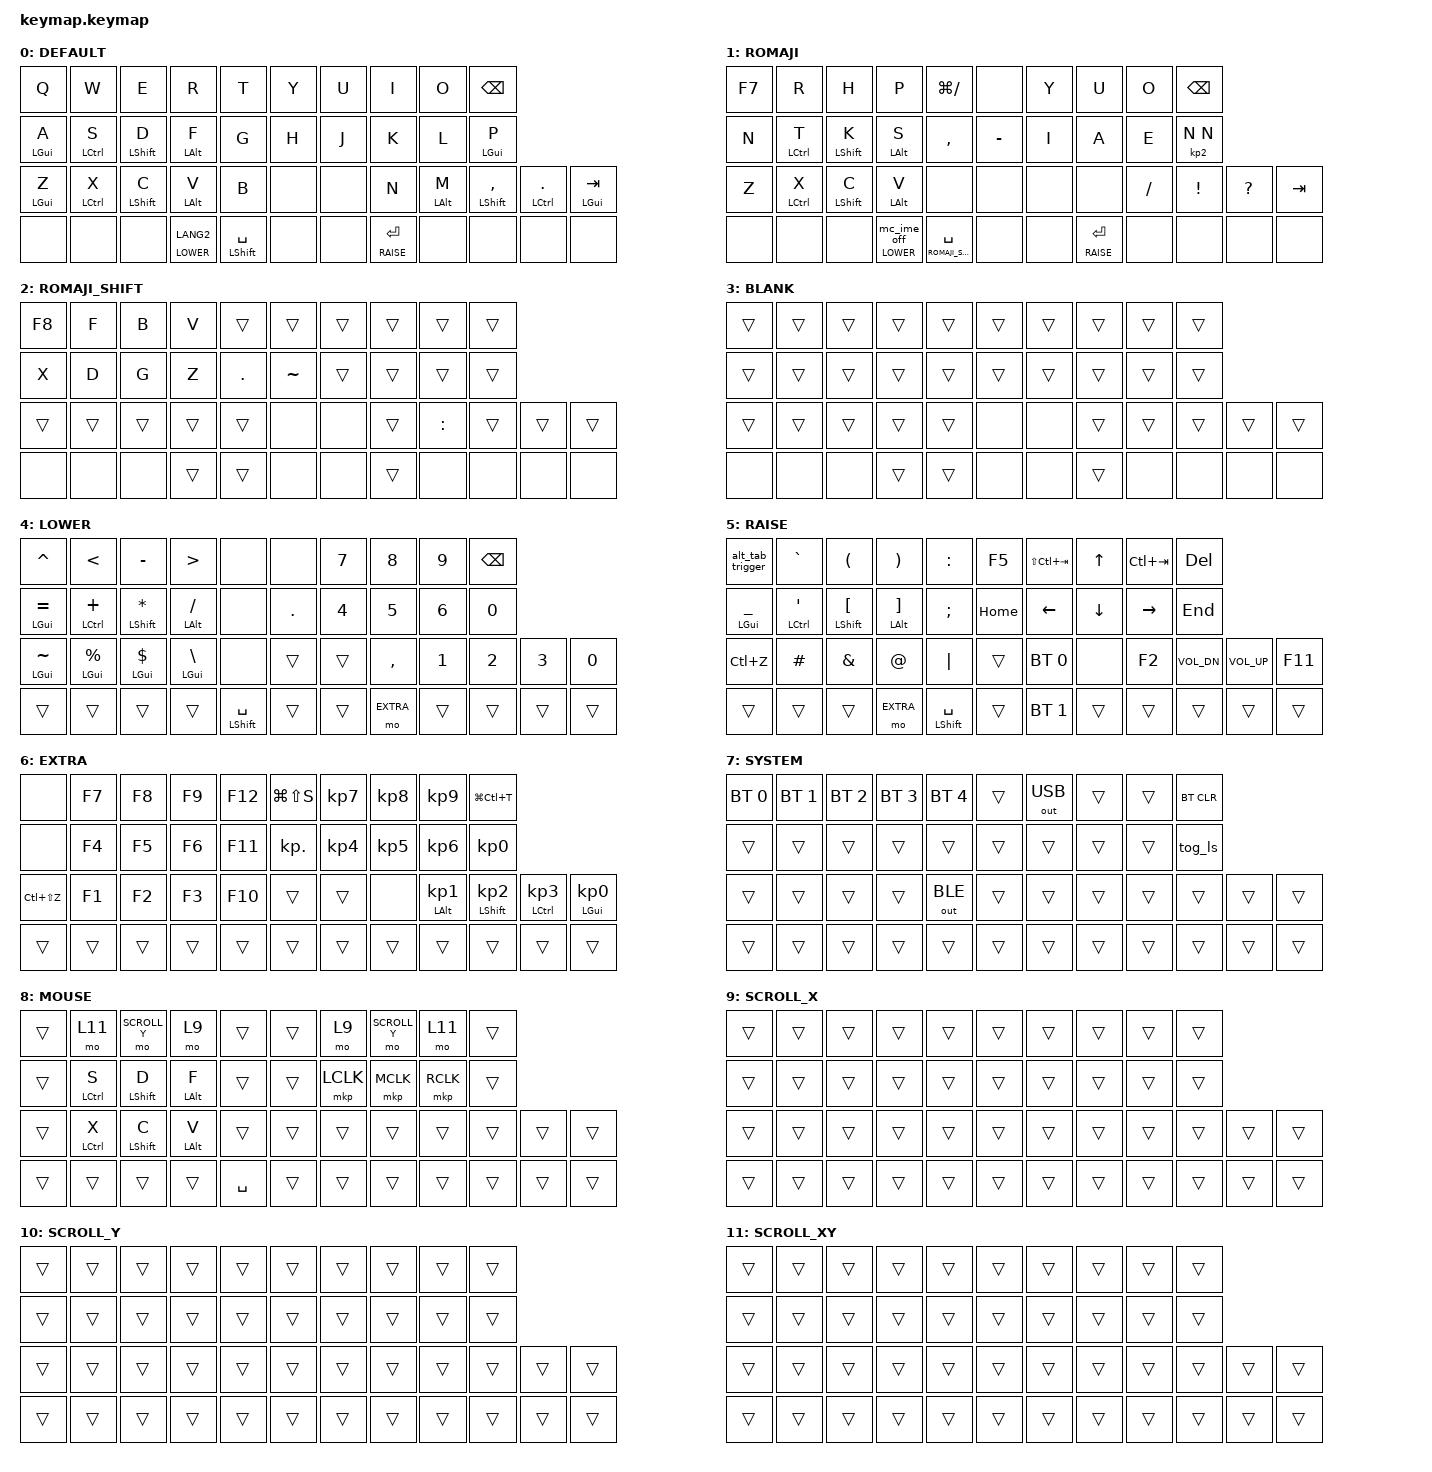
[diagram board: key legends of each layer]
#include <dt-bindings/zmk/modifiers.h>
#include <layout_shift.dtsi>
#include <input/processors.dtsi>
#include <behaviors.dtsi>
#include <dt-bindings/zmk/bt.h>
#include <dt-bindings/zmk/keys.h>
#include <dt-bindings/zmk/outputs.h>
#include <dt-bindings/zmk/pointing.h>

#define DEFAULT 0
#define ROMAJI 1
#define ROMAJI_SHIFT 2
#define BLANK 3
#define LOWER 4
#define RAISE 5
#define EXTRA 6
#define SYSTEM 7
#define MOUSE 8
#define SCROLL_X 9
#define SCROLL_Y 10
#define SCROLL_XY 11
#define KEYS_L 0 1 2 3 4 10 11 12 13 14 20 21 22 23 24 25 32 33 34
#define KEYS_R 5 6 7 8 9 15 16 17 18 19 26 27 28 29 30 31 41 42 43
#define THUMBS 31 35 36 37 38 39 40

// マウス機能の設定

&zip_temp_layer {
    require-prior-idle-ms = <200>; // キー入力から指定の時間(ms)、AMLを有効にしない(誤爆防止)
    excluded-positions = <
  /* ここで指定しないキー(非マウスキー)を押したとき、AMLを解除 */
        2 // E(SCROLL)
        7 // I(SCROLL)

        10 // A(GUI)
        11 // S(Ctrl)
        12 // D(Shift)
        13 // F(Alt)

        16 // J(LMB)
        17 // K(MMB)
        18 // L(RMB)

        36 // SandS
    >;
};

&trackball_listener {
    compatible = "zmk,input-listener";
    input-processors = <
        /* カーソル方向の反転 */
        &zip_xy_transform (INPUT_TRANSFORM_X_INVERT | INPUT_TRANSFORM_Y_INVERT)

        /* カーソル速度の変更 */
        &zip_x_scaler 1 1 /* X軸方向の速度を a/b倍 に調整 */
        &zip_y_scaler 1 1 /* Y軸方向の速度を a/b倍 に調整 */
        &zip_temp_layer MOUSE 10000 /* (AMLを適用するレイヤー, レイヤーが解除されるまでの時間(ms)) */
    >;

    precision_mode {
        layers = <LOWER>;
        input-processors = <
            &zip_xy_scaler 1 4 /* カーソル速度を a/b倍 に調整 */
            &zip_temp_layer MOUSE 10000
        >;

        process-next;
    };

    scroller_x {
        layers = <SCROLL_X>; /* このレイヤーにいるとき自動的にスクロールモードに変更 */
        input-processors = <
            &zip_y_scaler 0 1 /* Y軸の移動量を0倍にして遮断 */
            &zip_xy_to_scroll_mapper
            &zip_scroll_transform (INPUT_TRANSFORM_X_INVERT) /* X軸方向の動きを反転 */
            &zip_scroll_scaler 1 10 /* スクロールの速度を a/b倍 に調整 */
        >;

        process-next;
    };

    scroller_y {
        layers = <SCROLL_Y>; /* このレイヤーにいるとき自動的にスクロールモードに変更 */
        input-processors = <
            &zip_x_scaler 0 1 /* X軸の移動量を0倍にして遮断 */
            &zip_xy_to_scroll_mapper
            &zip_scroll_transform (INPUT_TRANSFORM_X_INVERT) /* X軸方向の動きを反転 */
            &zip_scroll_scaler 1 10 /* スクロールの速度を a/b倍 に調整 */
        >;

        process-next;
    };

    scroller_xy {
        layers = <SCROLL_XY>; /* このレイヤーにいるとき自動的にスクロールモードに変更 */
        input-processors = <
            &zip_xy_to_scroll_mapper
            &zip_scroll_transform (INPUT_TRANSFORM_X_INVERT) /* X軸方向の動きを反転 */
            &zip_scroll_scaler 1 10 /* スクロールの速度を a/b倍 に調整 */
        >;

        process-next;
    };
};

&mkp_input_listener {
    input-processors = <&zip_temp_layer MOUSE 10000>; // マウスボタンを押した後、指定の時間(ms)AMLを延長
};

// Mod-Tap

&mt {
    tapping-term-ms = <200>;
    quick-tap-ms = <250>;
    flavor = "balanced";
};

// Layer-Tap

&lt {
    tapping-term-ms = <200>;
    quick-tap-ms = <(-1)>;
    require-prior-idle-ms = <(-1)>;
    flavor = "hold-preferred";
    hold-while-undecided; // KeyPress後 すぐにHold-behaviorが開始
};

/ {
    combos {
        compatible = "zmk,combos";

        mkp_MB4 {
            bindings = <&mkp MB4>;
            key-positions = <15 16>;
        };

        mkp_MB5 {
            bindings = <&mkp MB5>;
            key-positions = <19 18>;
            layers = <0 8>;
        };

        kp_ESC {
            bindings = <&kp ESCAPE>;
            key-positions = <1 0>;
        };

        kp_CTRL_W {
            bindings = <&kp LC(W)>;
            key-positions = <15 19>;
        };

        kp_CTRL_SHIFT_T {
            bindings = <&kp LS(LC(T))>;
            key-positions = <5 9>;
        };

        kp_Win_1 {
            bindings = <&kp LG(N1)>;
            key-positions = <24 27>;
            layers = <0 8>;
        };

        kp_Win_2 {
            bindings = <&kp LG(N2)>;
            key-positions = <3 9>;
            layers = <0 8>;
        };

        kp_WIN {
            bindings = <&kp LGUI>;
            key-positions = <0 9>;
        };

        kp_CTRL_X {
            bindings = <&kp LC(X)>;
            key-positions = <20 21>;
        };

        kp_CTRL_C {
            bindings = <&kp LC(C)>;
            key-positions = <21 22>;
        };

        kp_CTRL_V {
            bindings = <&kp LC(V)>;
            key-positions = <21 23>;
        };

        kp_CTRL_SHIFT_V {
            bindings = <&kp LC(LS(V))>;
            key-positions = <21 22 23>;
        };

        kp_IME_on {
            bindings = <&mc_ime_on>;
            key-positions = <39 36>;
            timeout-ms = <50>;
        };

        sl_SYSTEM {
            bindings = <&sl SYSTEM>;
            key-positions = <31 27 24 20>;
            timeout-ms = <150>;
        };

        kp_IME_on_noLayer {
            bindings = <&kp LANG1>;
            key-positions = <9 8>;
        };

        kp_dh {
            bindings = <&kp2 D H>;
            key-positions = <11 2>;
            timeout-ms = <150>;
            layers = <2>;
        };

        kp_wh {
            bindings = <&kp2 W H>;
            key-positions = <1 2>;
            timeout-ms = <150>;
            layers = <2>;
        };

        kp_m {
            bindings = <&kp M>;
            key-positions = <12 11>;
            timeout-ms = <150>;
            layers = <1 2 3>;
        };

        kp_z {
            bindings = <&kp Z>;
            key-positions = <13 36>;
            timeout-ms = <50>;
            layers = <1 2 3>;
        };

        kp_d {
            bindings = <&kp D>;
            key-positions = <11 36>;
            timeout-ms = <50>;
            layers = <1 2 3>;
        };

        kp_g {
            bindings = <&kp G>;
            key-positions = <12 36>;
            timeout-ms = <50>;
            layers = <1 2 3>;
        };

        kp_b {
            bindings = <&kp B>;
            key-positions = <2 36>;
            timeout-ms = <50>;
            layers = <1 2 3>;
        };

        kp_v {
            bindings = <&kp V>;
            key-positions = <36 3>;
            timeout-ms = <50>;
            layers = <1 2 3>;
        };

        kp_x {
            bindings = <&kp X>;
            key-positions = <10 36>;
            timeout-ms = <50>;
            layers = <1 2 3>;
        };

        kp_f {
            bindings = <&kp F>;
            key-positions = <1 36>;
            timeout-ms = <150>;
            layers = <1 2 3>;
        };

        kp_w {
            bindings = <&kp W>;
            key-positions = <1 2>;
            timeout-ms = <150>;
            layers = <1 3>;
        };

        kp_rarrow {
            bindings = <&kp2 MINUS GT>;
            key-positions = <13 14>;
            timeout-ms = <150>;
            layers = <1 2>;
        };

        kp_larrow {
            bindings = <&kp2 LT MINUS>;
            key-positions = <10 11>;
            timeout-ms = <150>;
            layers = <2>;
        };
    };

    macros {
        // AMLを解除するマクロ

        /omit-if-no-ref/

        exit_AML: exit_AML {
            compatible = "zmk,behavior-macro";
            wait-ms = <0>;
            tap-ms = <0>;
            #binding-cells = <0>;
            bindings = <&tog_off MOUSE>;
        };

        // KeyPress後にAMLを解除するマクロ

        /omit-if-no-ref/

        kp_exit_AML: kp_exit_AML {
            compatible = "zmk,behavior-macro-one-param";
            wait-ms = <0>;
            tap-ms = <0>;
            #binding-cells = <1>;
            bindings = <&macro_param_1to1 &kp MACRO_PLACEHOLDER &exit_AML>;
        };

        // IME onと同時にローマ字レイヤーを有効にするマクロ

        /omit-if-no-ref/

        mc_ime_on: ime_on_romaji_layer {
            compatible = "zmk,behavior-macro";
            #binding-cells = <0>;
            bindings = <&macro_tap>, <&kp LANG1 &tog_on ROMAJI>;
        };

        // IME offと同時にデフォルトレイヤーに切り替えるマクロ

        /omit-if-no-ref/

        mc_ime_off: ime_off_default_layer {
            compatible = "zmk,behavior-macro";
            #binding-cells = <0>;
            bindings =
                <&macro_tap>,
                <&kp LANG2 &tog_off ROMAJI &tog_off ROMAJI_SHIFT>;
        };

        // 押している間レイヤーを切り替えながらIME offにするマクロ

        /omit-if-no-ref/

        mc_mo_ime_off: macro_mo_ime_off {
            compatible = "zmk,behavior-macro-one-param";
            #binding-cells = <1>;
            wait-ms = <0>;
            tap-ms = <0>;
            bindings =
                <&macro_press>,
                <&macro_param_1to1 &mo MACRO_PLACEHOLDER>,
                <&macro_tap>,
                <&kp LANG2>,
                <&macro_pause_for_release>,
                <&macro_release>,
                <&macro_param_1to1 &mo MACRO_PLACEHOLDER>,
                <&macro_tap>,
                <&kp LANG1>;
        };

        // Alt+Tab起動マクロ

        /omit-if-no-ref/

        alt_tab_trigger: alt_tab_trigger {
            compatible = "zmk,behavior-macro";
            #binding-cells = <0>;
            bindings =
                <&macro_press>,
                <&kp LALT>,
                <&macro_tap>,
                <&kp TAB>,
                <&macro_pause_for_release>,
                <&macro_release>,
                <&kp LALT>;
        };

        // 2つのキーコードを連続入力する汎用マクロ

        /omit-if-no-ref/

        kp2: kp_2chars {
            compatible = "zmk,behavior-macro-two-param";
            #binding-cells = <2>;
            bindings = <&macro_param_1to1 &kp MACRO_PLACEHOLDER &macro_param_2to1 &kp MACRO_PLACEHOLDER>; // 2つ目のキー
        };
    };

    behaviors {
        /omit-if-no-ref/

        // レイヤーを有効にするbehavior

        tog_on: toggle_layer_on {
            compatible = "zmk,behavior-toggle-layer";
            #binding-cells = <1>;
            toggle-mode = "on";
        };

        /omit-if-no-ref/

        // レイヤーを無効化するbehavior

        tog_off: toggle_layer_off {
            compatible = "zmk,behavior-toggle-layer";
            #binding-cells = <1>;
            toggle-mode = "off";
        };

        /omit-if-no-ref/

        // SandS用設定

        mt_SandS: mt_SandS {
            compatible = "zmk,behavior-hold-tap";
            label = "mt_SandS";
            #binding-cells = <2>;
            bindings = <&kp>, <&kp>;

            tapping-term-ms = <200>;
            quick-tap-ms = <(-1)>;
            require-prior-idle-ms = <(-1)>;
            flavor = "hold-preferred";
            hold-while-undecided;
        };

        /omit-if-no-ref/

        // Hold時にレイヤー切り替え、Tap時にIME off

        ht_ime_tap_hold_mo: ime_off_tap_mo_hold {
            compatible = "zmk,behavior-hold-tap";
            #binding-cells = <2>;
            bindings = <&mo &mc_ime_off>;
            tapping-term-ms = <200>;
            flavor = "hold-preferred";
            hold-while-undecided; // KeyPress後 すぐにHold-behaviorが開始    
        };

        /omit-if-no-ref/

        // Hold時にレイヤーを切り替えながらIME off、Tap時にキーコードを送信

        lt_ime_off: lt_ime_off {
            compatible = "zmk,behavior-hold-tap";
            #binding-cells = <2>;
            bindings = <&mc_mo_ime_off &kp>;
            tapping-term-ms = <200>;
            flavor = "hold-preferred";
        };

        /omit-if-no-ref/

        // Hold時にレイヤーを切り替えながらIME off、Tap時にIME offしてデフォルトレイヤーに切り替え

        lt_ime_off_fixed: lt_ime_off_fixed {
            compatible = "zmk,behavior-hold-tap";
            #binding-cells = <2>;
            bindings = <&mc_mo_ime_off &mc_ime_off>;
            tapping-term-ms = <200>;
            flavor = "hold-preferred";
        };

        /omit-if-no-ref/

        // 左手用修飾キー

        mt_mod_L: mt_mod_L {
            compatible = "zmk,behavior-hold-tap";
            label = "mt_mod_L";
            #binding-cells = <2>;
            bindings = <&kp>, <&kp_exit_AML>;

            // Tap時にMOUSEレイヤーを離脱

            tapping-term-ms = <350>;
            quick-tap-ms = <175>;
            require-prior-idle-ms = <200>;
            flavor = "balanced";
            hold-trigger-key-positions = <KEYS_R THUMBS>; // 右手キーが押されたら即時Hold判定
            hold-trigger-on-release; // 上の設定を"右手キーが離されたら"に変更
        };

        /omit-if-no-ref/

        // 右手用修飾キー

        mt_mod_R: mt_mod_R {
            compatible = "zmk,behavior-hold-tap";
            label = "mt_mod_R";
            #binding-cells = <2>;
            bindings = <&kp>, <&kp_exit_AML>;

            tapping-term-ms = <350>;
            quick-tap-ms = <175>;
            require-prior-idle-ms = <200>;
            flavor = "balanced";
            hold-trigger-key-positions = <KEYS_L THUMBS>;
            hold-trigger-on-release;
        };

        /omit-if-no-ref/

        // MOUSEレイヤー用修飾キー

        mt_mod_MOUSE: mt_mod_MOUSE {
            compatible = "zmk,behavior-hold-tap";
            label = "mt_mod_MOUSE";
            #binding-cells = <2>;
            bindings = <&kp>, <&kp_exit_AML>;

            tapping-term-ms = <200>;
            quick-tap-ms = <175>;

            // require-prior-idle-ms = <150>;

            flavor = "balanced";
            hold-while-undecided; // KeyPress後 すぐにHold-behaviorが開始
        };

        /omit-if-no-ref/

        // ローマ字レイヤー用修飾キー Enter, Tab, BS のみ適用可能

        mt_mod_ROMAJI: mt_mod_ROMAJI {
            compatible = "zmk,behavior-hold-tap";
            label = "mt_mod_T";
            #binding-cells = <2>;
            bindings = <&kp>, <&kp_exit_AML>;

            tapping-term-ms = <350>;
            quick-tap-ms = <175>;
            require-prior-idle-ms = <200>;
            flavor = "balanced";
            hold-trigger-key-positions = <9 39 31>;
            hold-trigger-on-release;
        };

        /omit-if-no-ref/

        // 右手用修飾キーとmod-morph「,/!」を両立

        mt_mod_COMMA_EX: mt_mod_COMMA_EX {
            compatible = "zmk,behavior-hold-tap";
            label = "mt_mod_COMMA_EX";
            #binding-cells = <2>;
            bindings = <&kp>, <&mm_COMMA_EXCLAMATION>;

            tapping-term-ms = <350>;
            quick-tap-ms = <175>;
            require-prior-idle-ms = <200>;
            flavor = "balanced";
            hold-trigger-key-positions = <KEYS_L THUMBS>;
            hold-trigger-on-release;
        };

        /omit-if-no-ref/

        // 右手用修飾キーとmod-morph「./?」を両立

        mt_mod_PERIOD_QM: mt_mod_PERIOD_QM {
            compatible = "zmk,behavior-hold-tap";
            label = "mt_mod_PERIOD_QM";
            #binding-cells = <2>;
            bindings = <&kp>, <&mm_PERIOD_QUESTION>;

            tapping-term-ms = <350>;
            quick-tap-ms = <175>;
            require-prior-idle-ms = <200>;
            flavor = "balanced";
            hold-trigger-key-positions = <KEYS_L THUMBS>;
            hold-trigger-on-release;
        };

        /omit-if-no-ref/

        // SCROLLレイヤー用 Layer/Tap

        lt_SCROLL: lt_SCROLL {
            compatible = "zmk,behavior-hold-tap";
            label = "lt_SCROLL";
            #binding-cells = <2>;
            bindings = <&mo>, <&kp_exit_AML>;

            tapping-term-ms = <100>;
            quick-tap-ms = <200>;
            flavor = "balanced";
            hold-while-undecided; // KeyPress後 すぐにHold-behaviorが開始
        };

        /omit-if-no-ref/

        // Shiftキーを無効にしてIME_ONにする

        mm_IME_ON: mm_IME_ON {
            compatible = "zmk,behavior-mod-morph";
            #binding-cells = <0>;
            bindings = <&kp LANGUAGE_1>, <&kp LANGUAGE_1>;

            mods = <(MOD_LSFT | MOD_RSFT)>;
            keep-mods = <0>; // 明示的にShiftキーを無効化
        };

        /omit-if-no-ref/

        // <Shift + ,>で<!>を入力

        mm_COMMA_EXCLAMATION: mm_COMMA_EXCLAMATION {
            compatible = "zmk,behavior-mod-morph";
            #binding-cells = <0>;
            bindings = <&kp COMMA>, <&kp EXCLAMATION>;

            mods = <(MOD_LSFT | MOD_RSFT)>;
        };

        /omit-if-no-ref/

        // <Shift + .>で<?>を入力

        mm_PERIOD_QUESTION: mm_PERIOD_QUESTION {
            compatible = "zmk,behavior-mod-morph";
            #binding-cells = <0>;
            bindings = <&kp PERIOD>, <&kp QUESTION>;

            mods = <(MOD_LSFT | MOD_RSFT)>;
        };

        // &kp の定義を上書き zmk-layout-shift/dts/layout_shift_kp_override.dtsi
        // Keep the original key_press behavior for ZMK core components

        original_key_press: original_key_press {
            compatible = "zmk,behavior-key-press";
            #binding-cells = <1>;
            label = "KEY_PRESS";
        };

        // Override the existing &kp behavior to use our custom implementation

        kp: key_press {
            compatible = "zmk,behavior-layout-shift-key-press";
            #binding-cells = <1>;
            label = "LAYOUT_SHIFT_KEY_PRESS";
        };
    };

    keymap {
        compatible = "zmk,keymap";

        DEFAULT {
            bindings = <
            &kp Q  &kp W  &kp E  &kp R  &kp T      &kp Y  &kp U  &kp I  &kp O  &kp BSPC
            &mt_mod_L LGUI A  &mt_mod_L LCTRL S  &mt_mod_L LSHFT D  &mt_mod_L LALT F  &kp G      &kp H  &kp J  &kp K  &kp L  &mt_mod_R LGUI P
            &mt_mod_L LGUI Z  &mt_mod_L LCTRL X  &mt_mod_L LSHFT C  &mt_mod_L LALT V  &kp B  &none      &none  &kp N  &mt_mod_R LALT M  &mt_mod_COMMA_EX LSHFT COMMA  &mt_mod_PERIOD_QM LCTRL DOT  &mt_mod_R LEFT_GUI TAB
            &none  &none  &none  &lt LOWER LANG2  &mt_SandS LSHIFT SPACE  &none      &none  &lt RAISE ENTER  &none  &none  &none  &none
            >;
        };

        ROMAJI {
            bindings = <
            &kp F7  &kp R  &kp H  &kp P  &kp LG(SLASH)      &none  &kp Y  &kp U  &kp O  &kp BSPC
            &kp N  &mt_mod_ROMAJI LCTRL T  &mt_mod_ROMAJI LSHIFT K  &mt_mod_ROMAJI LALT S  &kp COMMA      &kp MINUS  &kp I  &kp A  &kp E  &kp2 N N
            &kp Z  &mt_mod_ROMAJI LCTRL X  &mt_mod_ROMAJI LSHIFT C  &mt_mod_ROMAJI LALT V  &none  &none      &none  &none  &kp SLASH  &kp EXCL  &kp QMARK  &kp TAB
            &none  &none  &none  &lt_ime_off_fixed LOWER 0  &lt ROMAJI_SHIFT SPACE  &none      &none  &lt RAISE ENTER  &none  &none  &none  &none
            >;
        };

        ROMAJI_SHIFT {
            bindings = <
            &kp F8  &kp F  &kp B  &kp V  &trans      &trans  &trans  &trans  &trans  &trans
            &kp X  &kp D  &kp G  &kp Z  &kp PERIOD      &kp TILDE  &trans  &trans  &trans  &trans
            &trans  &trans  &trans  &trans  &trans  &none      &none  &trans  &kp COLON  &trans  &trans  &trans
            &none  &none  &none  &trans  &trans  &none      &none  &trans  &none  &none  &none  &none
            >;
        };

        BLANK {
            bindings = <
            &trans  &trans  &trans  &trans  &trans      &trans  &trans  &trans  &trans  &trans
            &trans  &trans  &trans  &trans  &trans      &trans  &trans  &trans  &trans  &trans
            &trans  &trans  &trans  &trans  &trans  &none      &none  &trans  &trans  &trans  &trans  &trans
            &none  &none  &none  &trans  &trans  &none      &none  &trans  &none  &none  &none  &none
            >;
        };

        LOWER {
            bindings = <
            &kp CARET  &kp LT  &kp MINUS  &kp GT  &none      &none  &kp N7  &kp N8  &kp N9  &kp BSPC
            &mt_mod_L LGUI EQUAL  &mt_mod_L LCTRL PLUS  &mt_mod_L LSHFT STAR  &mt_mod_L LALT FSLH  &none      &kp PERIOD  &kp N4  &kp N5  &kp N6  &kp N0
            &mt_mod_L LGUI TILDE  &mt_mod_L LGUI PRCNT  &mt_mod_L LGUI DLLR  &mt_mod_L LGUI BSLH  &none  &trans      &trans  &kp COMMA  &kp N1  &kp N2  &kp N3  &kp N0
            &trans  &trans  &trans  &trans  &mt_SandS LSHFT SPACE  &trans      &trans  &mo EXTRA  &trans  &trans  &trans  &trans
            >;
        };

        RAISE {
            bindings = <
            &alt_tab_trigger  &kp GRAVE  &kp LPAR  &kp RPAR  &kp COLON      &kp F5  &kp LS(LC(TAB))  &kp UP  &kp LC(TAB)  &kp DEL
            &mt_mod_L LGUI UNDER  &mt_mod_L LCTRL SQT  &mt_mod_L LSHFT LBKT  &mt_mod_L LALT RBKT  &kp SEMI      &kp HOME  &kp LEFT  &kp DOWN  &kp RIGHT  &kp END
            &kp LC(Z)  &kp HASH  &kp AMPS  &kp AT  &kp PIPE  &trans      &bt BT_SEL 0  &none  &kp F2  &kp C_VOL_DN  &kp C_VOL_UP  &kp F11
            &trans  &trans  &trans  &mo EXTRA  &mt_SandS LSHFT SPACE  &trans      &bt BT_SEL 1  &trans  &trans  &trans  &trans  &trans
            >;
        };

        EXTRA {
            bindings = <
            &none  &kp F7  &kp F8  &kp F9  &kp F12      &kp LG(LS(S))  &kp KP_N7  &kp KP_N8  &kp KP_N9  &kp LG(LC(T))
            &none  &kp F4  &kp F5  &kp F6  &kp F11      &kp KP_DOT  &kp KP_N4  &kp KP_N5  &kp KP_N6  &kp KP_N0
            &kp LC(LS(Z))  &kp F1  &kp F2  &kp F3  &kp F10  &trans      &trans  &none  &mt_mod_R LALT KP_N1  &mt_mod_R LSHFT KP_N2  &mt_mod_R LCTRL KP_N3  &mt_mod_R LEFT_GUI KP_N0
            &trans  &trans  &trans  &trans  &trans  &trans      &trans  &trans  &trans  &trans  &trans  &trans
            >;
        };

        SYSTEM {
            bindings = <
            &bt BT_SEL 0  &bt BT_SEL 1  &bt BT_SEL 2  &bt BT_SEL 3  &bt BT_SEL 4      &trans  &out OUT_USB  &trans  &trans  &bt BT_CLR
            &trans  &trans  &trans  &trans  &trans      &trans  &trans  &trans  &trans  &tog_ls
            &trans  &trans  &trans  &trans  &out OUT_BLE  &trans      &trans  &trans  &trans  &trans  &trans  &trans
            &trans  &trans  &trans  &trans  &trans  &trans      &trans  &trans  &trans  &trans  &trans  &trans
            >;
        };

        MOUSE {
            bindings = <
            &trans  &mo 11  &mo SCROLL_Y  &mo 9  &trans      &trans  &mo 9  &mo SCROLL_Y  &mo 11  &trans
            &trans  &mt_mod_MOUSE LCTRL S  &mt_mod_MOUSE LSHFT D  &mt_mod_MOUSE LALT F  &trans      &trans  &mkp LCLK  &mkp MCLK  &mkp RCLK  &trans
            &trans  &mt_mod_MOUSE LCTRL X  &mt_mod_MOUSE LSHFT C  &mt_mod_MOUSE LALT V  &trans  &trans      &trans  &trans  &trans  &trans  &trans  &trans
            &trans  &trans  &trans  &trans  &kp SPACE  &trans      &trans  &trans  &trans  &trans  &trans  &trans
            >;
        };

        SCROLL_X {
            bindings = <
            &trans  &trans  &trans  &trans  &trans      &trans  &trans  &trans  &trans  &trans
            &trans  &trans  &trans  &trans  &trans      &trans  &trans  &trans  &trans  &trans
            &trans  &trans  &trans  &trans  &trans  &trans      &trans  &trans  &trans  &trans  &trans  &trans
            &trans  &trans  &trans  &trans  &trans  &trans      &trans  &trans  &trans  &trans  &trans  &trans
            >;
        };

        SCROLL_Y {
            bindings = <
            &trans  &trans  &trans  &trans  &trans      &trans  &trans  &trans  &trans  &trans
            &trans  &trans  &trans  &trans  &trans      &trans  &trans  &trans  &trans  &trans
            &trans  &trans  &trans  &trans  &trans  &trans      &trans  &trans  &trans  &trans  &trans  &trans
            &trans  &trans  &trans  &trans  &trans  &trans      &trans  &trans  &trans  &trans  &trans  &trans
            >;
        };

        SCROLL_XY {
            bindings = <
            &trans  &trans  &trans  &trans  &trans      &trans  &trans  &trans  &trans  &trans
            &trans  &trans  &trans  &trans  &trans      &trans  &trans  &trans  &trans  &trans
            &trans  &trans  &trans  &trans  &trans  &trans      &trans  &trans  &trans  &trans  &trans  &trans
            &trans  &trans  &trans  &trans  &trans  &trans      &trans  &trans  &trans  &trans  &trans  &trans
            >;
        };
    };
};
